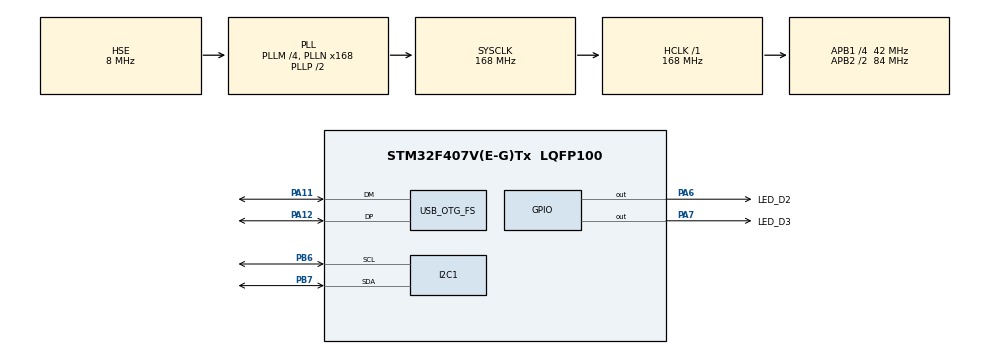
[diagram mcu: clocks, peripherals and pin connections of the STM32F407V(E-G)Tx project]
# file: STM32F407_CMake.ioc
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Mcu.Family=STM32F4
Mcu.Name=STM32F407V(E-G)Tx
Mcu.Package=LQFP100
NVIC.OTG_FS_IRQn=true\:0\:0\:false\:false\:true\:false\:true\:true
NVIC.PriorityGroup=NVIC_PRIORITYGROUP_4
PA11.Mode=Device_Only
PA11.Signal=USB_OTG_FS_DM
PA12.Mode=Device_Only
PA12.Signal=USB_OTG_FS_DP
PA13.Mode=Serial_Wire
PA13.Signal=SYS_JTMS-SWDIO
PA14.Mode=Serial_Wire
PA14.Signal=SYS_JTCK-SWCLK
PA6.GPIO_Label=LED_D2
PA6.GPIO_Speed=GPIO_SPEED_FREQ_HIGH
PA6.Signal=GPIO_Output
PA7.GPIO_Label=LED_D3
PA7.GPIO_Speed=GPIO_SPEED_FREQ_HIGH
PA7.Signal=GPIO_Output
PB6.Mode=I2C
PB6.Signal=I2C1_SCL
PB7.Mode=I2C
PB7.Signal=I2C1_SDA
PH0-OSC_IN.Mode=HSE-External-Oscillator
PH0-OSC_IN.Signal=RCC_OSC_IN
PH1-OSC_OUT.Mode=HSE-External-Oscillator
PH1-OSC_OUT.Signal=RCC_OSC_OUT
ProjectManager.HeapSize=0x2000
ProjectManager.StackSize=0x800
ProjectManager.TargetToolchain=CMake
RCC.48MHZClocksFreq_Value=48000000
RCC.AHBFreq_Value=168000000
RCC.APB1CLKDivider=RCC_HCLK_DIV4
RCC.APB1Freq_Value=42000000
RCC.APB1TimFreq_Value=84000000
RCC.APB2CLKDivider=RCC_HCLK_DIV2
RCC.APB2Freq_Value=84000000
RCC.APB2TimFreq_Value=168000000
RCC.CortexFreq_Value=168000000
RCC.HCLKFreq_Value=168000000
RCC.HSE_VALUE=8000000
RCC.HSI_VALUE=16000000
RCC.LSE_VALUE=32768
RCC.PLLM=4
RCC.PLLN=168
RCC.PLLQ=7
RCC.SYSCLKFreq_VALUE=168000000
RCC.SYSCLKSource=RCC_SYSCLKSOURCE_PLLCLK
RCC.VCOOutputFreq_Value=336000000
USB_DEVICE.CLASS_NAME_FS=CDC
USB_DEVICE.VirtualMode-CDC_FS=Cdc
USB_DEVICE.VirtualModeFS=Cdc_FS
USB_OTG_FS.VirtualMode=Device_Only
VP_USB_DEVICE_VS_USB_DEVICE_CDC_FS.Mode=CDC_FS
board=custom

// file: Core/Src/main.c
/* USER CODE BEGIN Header */
/**
  ******************************************************************************
  * @file           : main.c
  * @brief          : Main program body
  ******************************************************************************
  * @attention
  *
  * Copyright (c) 2026 STMicroelectronics.
  * All rights reserved.
  *
  * This software is licensed under terms that can be found in the LICENSE file
  * in the root directory of this software component.
  * If no LICENSE file comes with this software, it is provided AS-IS.
  *
  ******************************************************************************
  */
/* USER CODE END Header */
#include "main.h"
#include "i2c.h"
#include "usb_device.h"
#include "gpio.h"

/* USER CODE BEGIN Includes */
#include "stdio.h"
#include "string.h"
#include "mpu6050.h"
#include "usbd_cdc_if.h"
/* USER CODE END Includes */

/* USER CODE BEGIN PV */
MPU6050_sensor mpu;
/* USER CODE END PV */

void SystemClock_Config(void);

/* USER CODE BEGIN 0 */
static void usb_print(const char *s)
{
    uint32_t t = HAL_GetTick();
    while (CDC_Transmit_FS((uint8_t *)s, strlen(s)) == USBD_BUSY &&
           (HAL_GetTick() - t) < 50) { }
}
/* USER CODE END 0 */

int main(void)
{

  /* MCU Configuration--------------------------------------------------------*/

  /* Reset of all peripherals, Initializes the Flash interface and the Systick. */
  HAL_Init();

  /* Configure the system clock */
  SystemClock_Config();

  /* Initialize all configured peripherals */
  MX_GPIO_Init();
  MX_USB_DEVICE_Init();
  MX_I2C1_Init();
  /* USER CODE BEGIN 2 */
  HAL_Delay(1000);   /* wait for USB CDC to be ready */
  while (MPU6050_Init(&hi2c1) != HAL_OK) {
      usb_print("MPU6050 not responding!\r\n");
      HAL_Delay(1000);
  }
  usb_print("Calibrating gyroscope, keep board still...\r\n");
  MPU6050_CalibrateGyro(&hi2c1);
  /* USER CODE END 2 */

  /* Infinite loop */
  while (1)
  {

    /* USER CODE BEGIN 3 */
    if (MPU6050_ReadAll(&hi2c1, &mpu) == HAL_OK) {
        char msg[160];
        snprintf(msg, sizeof(msg),
                "%.3f,%.3f,%.3f,%.2f,%.2f,%.2f,%.1f,%.2f,%.2f\r\n",
                mpu.ax, mpu.ay, mpu.az, mpu.gx, mpu.gy, mpu.gz,
                mpu.temp, mpu.roll, mpu.pitch);
        usb_print(msg);
    }
    HAL_Delay(500);

  }
  /* USER CODE END 3 */
}

void SystemClock_Config(void)
{
  RCC_OscInitTypeDef RCC_OscInitStruct = {0};
  RCC_ClkInitTypeDef RCC_ClkInitStruct = {0};

  /** Configure the main internal regulator output voltage
  */
  __HAL_RCC_PWR_CLK_ENABLE();
  __HAL_PWR_VOLTAGESCALING_CONFIG(PWR_REGULATOR_VOLTAGE_SCALE1);

  /** Initializes the RCC Oscillators according to the specified parameters
  * in the RCC_OscInitTypeDef structure.
  */
  RCC_OscInitStruct.OscillatorType = RCC_OSCILLATORTYPE_HSE;
  RCC_OscInitStruct.HSEState = RCC_HSE_ON;
  RCC_OscInitStruct.PLL.PLLState = RCC_PLL_ON;
  RCC_OscInitStruct.PLL.PLLSource = RCC_PLLSOURCE_HSE;
  RCC_OscInitStruct.PLL.PLLM = 4;
  RCC_OscInitStruct.PLL.PLLN = 168;
  RCC_OscInitStruct.PLL.PLLP = RCC_PLLP_DIV2;
  RCC_OscInitStruct.PLL.PLLQ = 7;
  if (HAL_RCC_OscConfig(&RCC_OscInitStruct) != HAL_OK)
  {
    Error_Handler();
  }

  /** Initializes the CPU, AHB and APB buses clocks
  */
  RCC_ClkInitStruct.ClockType = RCC_CLOCKTYPE_HCLK|RCC_CLOCKTYPE_SYSCLK
                              |RCC_CLOCKTYPE_PCLK1|RCC_CLOCKTYPE_PCLK2;
  RCC_ClkInitStruct.SYSCLKSource = RCC_SYSCLKSOURCE_PLLCLK;
  RCC_ClkInitStruct.AHBCLKDivider = RCC_SYSCLK_DIV1;
  RCC_ClkInitStruct.APB1CLKDivider = RCC_HCLK_DIV4;
  RCC_ClkInitStruct.APB2CLKDivider = RCC_HCLK_DIV2;

  if (HAL_RCC_ClockConfig(&RCC_ClkInitStruct, FLASH_LATENCY_5) != HAL_OK)
  {
    Error_Handler();
  }
}

void Error_Handler(void)
{
  __disable_irq();
  while (1)
  {
  }
}
